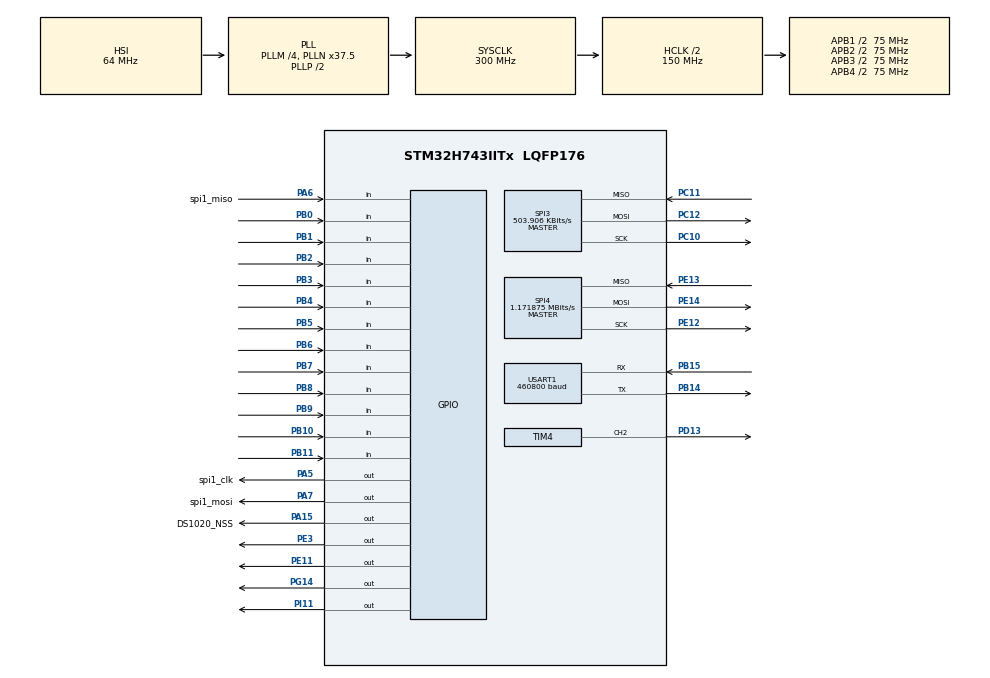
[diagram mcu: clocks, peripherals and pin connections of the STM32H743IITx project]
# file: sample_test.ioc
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CORTEX_M7.default_mode_Activation=1
Mcu.Family=STM32H7
Mcu.Name=STM32H743IITx
Mcu.Package=LQFP176
NVIC.PriorityGroup=NVIC_PRIORITYGROUP_4
NVIC.TIM4_IRQn=true\:0\:0\:false\:false\:true\:true\:true\:true
PA15\ (JTDI).GPIO_Label=DS1020_NSS
PA15\ (JTDI).GPIO_PuPd=GPIO_PULLUP
PA15\ (JTDI).Signal=GPIO_Output
PA5.GPIO_Label=spi1_clk
PA5.GPIO_PuPd=GPIO_PULLUP
PA5.GPIO_Speed=GPIO_SPEED_FREQ_VERY_HIGH
PA5.Signal=GPIO_Output
PA6.GPIO_Label=spi1_miso
PA6.GPIO_PuPd=GPIO_PULLUP
PA6.Signal=GPIO_Input
PA7.GPIO_Label=spi1_mosi
PA7.GPIO_PuPd=GPIO_PULLUP
PA7.GPIO_Speed=GPIO_SPEED_FREQ_VERY_HIGH
PA7.Signal=GPIO_Output
PB0.GPIO_PuPd=GPIO_PULLUP
PB0.Signal=GPIO_Input
PB1.GPIO_PuPd=GPIO_PULLUP
PB1.Signal=GPIO_Input
PB10.GPIO_PuPd=GPIO_PULLUP
PB10.Signal=GPIO_Input
PB11.GPIO_PuPd=GPIO_PULLUP
PB11.Signal=GPIO_Input
PB14.Mode=Asynchronous
PB14.Signal=USART1_TX
PB15.Mode=Asynchronous
PB15.Signal=USART1_RX
PB2.GPIO_PuPd=GPIO_PULLUP
PB2.Signal=GPIO_Input
PB3\ (JTDO/TRACESWO).GPIO_PuPd=GPIO_PULLUP
PB3\ (JTDO/TRACESWO).Signal=GPIO_Input
PB4\ (NJTRST).GPIO_PuPd=GPIO_PULLUP
PB4\ (NJTRST).Signal=GPIO_Input
PB5.GPIO_PuPd=GPIO_PULLUP
PB5.Signal=GPIO_Input
PB6.GPIO_PuPd=GPIO_PULLUP
PB6.Signal=GPIO_Input
PB7.GPIO_PuPd=GPIO_PULLUP
PB7.Signal=GPIO_Input
PB8.GPIO_PuPd=GPIO_PULLUP
PB8.Signal=GPIO_Input
PB9.GPIO_PuPd=GPIO_PULLUP
PB9.Signal=GPIO_Input
PC10.Mode=Full_Duplex_Master
PC10.Signal=SPI3_SCK
PC11.Mode=Full_Duplex_Master
PC11.Signal=SPI3_MISO
PC12.Mode=Full_Duplex_Master
PC12.Signal=SPI3_MOSI
PC14-OSC32_IN\ (OSC32_IN).Mode=LSE-External-Oscillator
PC14-OSC32_IN\ (OSC32_IN).Signal=RCC_OSC32_IN
PC15-OSC32_OUT\ (OSC32_OUT).Mode=LSE-External-Oscillator
PC15-OSC32_OUT\ (OSC32_OUT).Signal=RCC_OSC32_OUT
PD13.GPIO_PuPd=GPIO_PULLUP
PD13.Signal=S_TIM4_CH2
PE11.GPIO_PuPd=GPIO_PULLUP
PE11.Signal=GPIO_Output
PE12.Mode=Full_Duplex_Master
PE12.Signal=SPI4_SCK
PE13.Mode=Full_Duplex_Master
PE13.Signal=SPI4_MISO
PE14.Mode=Full_Duplex_Master
PE14.Signal=SPI4_MOSI
PE3.GPIO_PuPd=GPIO_PULLUP
PE3.Signal=GPIO_Output
PG14.GPIO_PuPd=GPIO_PULLUP
PG14.Signal=GPIO_Output
PH0-OSC_IN\ (PH0).Mode=HSE-External-Oscillator
PH0-OSC_IN\ (PH0).Signal=RCC_OSC_IN
PH1-OSC_OUT\ (PH1).Mode=HSE-External-Oscillator
PH1-OSC_OUT\ (PH1).Signal=RCC_OSC_OUT
PI11.GPIO_PuPd=GPIO_PULLUP
PI11.GPIO_Speed=GPIO_SPEED_FREQ_HIGH
PI11.Signal=GPIO_Output
ProjectManager.HeapSize=0x200
ProjectManager.StackSize=0x400
ProjectManager.TargetToolchain=MDK-ARM V5.32
RCC.ADCFreq_Value=129000000
RCC.APB1Freq_Value=75000000
RCC.APB2Freq_Value=75000000
RCC.APB3Freq_Value=75000000
RCC.APB4Freq_Value=75000000
RCC.CortexFreq_Value=300000000
RCC.D1PPRE=RCC_APB3_DIV2
RCC.D2PPRE1=RCC_APB1_DIV2
RCC.D2PPRE2=RCC_APB2_DIV2
RCC.D3PPRE=RCC_APB4_DIV2
RCC.DIVM1=4
RCC.DIVN1=37
RCC.HCLKFreq_Value=150000000
RCC.HPRE=RCC_HCLK_DIV2
RCC.PLLFRACN=4096
RCC.SPI123CLockSelection=RCC_SPI123CLKSOURCE_PLL3
RCC.SYSCLKFreq_VALUE=300000000
RCC.SYSCLKSource=RCC_SYSCLKSOURCE_PLLCLK
RCC.USBFreq_Value=300000000
SH.S_TIM4_CH2.0=TIM4_CH2,PWM Generation2 CH2
SPI3.BaudRatePrescaler=SPI_BAUDRATEPRESCALER_256
SPI3.CLKPolarity=SPI_POLARITY_HIGH
SPI3.CalculateBaudRate=503.906 KBits/s
SPI3.DataSize=SPI_DATASIZE_8BIT
SPI3.Direction=SPI_DIRECTION_2LINES
SPI3.Mode=SPI_MODE_MASTER
SPI3.VirtualType=VM_MASTER
SPI4.BaudRatePrescaler=SPI_BAUDRATEPRESCALER_64
SPI4.CLKPhase=SPI_PHASE_2EDGE
SPI4.CLKPolarity=SPI_POLARITY_HIGH
SPI4.CalculateBaudRate=1.171875 MBits/s
SPI4.DataSize=SPI_DATASIZE_8BIT
SPI4.Direction=SPI_DIRECTION_2LINES
SPI4.Mode=SPI_MODE_MASTER
SPI4.VirtualType=VM_MASTER
TIM4.AutoReloadPreload=TIM_AUTORELOAD_PRELOAD_ENABLE
TIM4.Channel-PWM\ Generation2\ CH2=TIM_CHANNEL_2
TIM4.OCFastMode_PWM-PWM\ Generation2\ CH2=TIM_OCFAST_ENABLE
TIM4.OCMode_PWM-PWM\ Generation2\ CH2=TIM_OCMODE_PWM1
TIM4.Period=20-1
TIM4.Prescaler=50-1
TIM4.Pulse-PWM\ Generation2\ CH2=10
USART1.BaudRate=460800
USART1.VirtualMode-Asynchronous=VM_ASYNC
VP_TIM4_VS_ClockSourceINT.Mode=Internal
board=custom

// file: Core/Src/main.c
/* USER CODE BEGIN Header */
/**
  ******************************************************************************
  * @file           : main.c
  * @brief          : Main program body
  ******************************************************************************
  * @attention
  *
  * Copyright (c) 2023 STMicroelectronics.
  * All rights reserved.
  *
  * This software is licensed under terms that can be found in the LICENSE file
  * in the root directory of this software component.
  * If no LICENSE file comes with this software, it is provided AS-IS.
  *
  ******************************************************************************
  */
/* USER CODE END Header */
#include "main.h"
#include "spi.h"
#include "tim.h"
#include "usart.h"
#include "gpio.h"

/* USER CODE BEGIN Includes */
#include "stdio.h"
#include "AD9226.h"
#include "softspi.h"
#include "spi.h"
#include <icm_20948.h>
/* USER CODE END Includes */

/* USER CODE BEGIN PD */
#define ad9226_bufer_size 1024
/* USER CODE END PD */

/* USER CODE BEGIN PV */
float ad9226_buffer_float[ad9226_bufer_size];
uint16_t ad9226_bufffer[ad9226_bufer_size];
uint8_t up_ad9226_bufffer[ad9226_bufer_size];
uint8_t down_ad9226_bufffer[ad9226_bufer_size];

uint16_t cnt=1;
uint8_t data=0;
uint8_t rx=0;
uint16_t cnt_buffer[]={0x0A00,0x4B01,0x9101,0xDA01};//0x0000,0x4701,0x9401,0xe201
uint16_t temp=0;//0-4
uint16_t spi_data;
uint16_t adc_count=0;
int16_t icm_readdata[21];
/* USER CODE END PV */

void SystemClock_Config(void);
static void MPU_Config(void);

int main(void)
{

  /* MPU Configuration--------------------------------------------------------*/
  MPU_Config();

  /* MCU Configuration--------------------------------------------------------*/

  /* Reset of all peripherals, Initializes the Flash interface and the Systick. */
  HAL_Init();

  /* Configure the system clock */
  SystemClock_Config();

  /* Initialize all configured peripherals */
  MX_GPIO_Init();
  MX_SPI3_Init();
  MX_SPI4_Init();
  MX_TIM4_Init();
  MX_USART1_UART_Init();
  /* USER CODE BEGIN 2 */
TIM4->PSC=200-1;
TIM4->ARR=20-1;
TIM4->CCR2=10;
		HAL_TIM_PWM_Start(&htim4,TIM_CHANNEL_2);
    HAL_TIM_Base_Start_IT(&htim4);
	HAL_GPIO_WritePin(GPIOI,GPIO_PIN_11,GPIO_PIN_SET);
	HAL_SPI_Transmit(&hspi3,&data,1,10);
	HAL_GPIO_WritePin(GPIOI,GPIO_PIN_11,GPIO_PIN_RESET);
//	 ICM20948_init();

  /* USER CODE END 2 */

  /* Infinite loop */
  /* USER CODE BEGIN WHILE */
  while (1)
  {

		if(adc_count==0)
		{

//			printf("*****");
			for(uint16_t i=0;i<ad9226_bufer_size;i++)
		{
//			ad9226_buffer_float[i] =  ad9226_bufffer[i]*1.0/4095.0*10-5;
	//		printf("a=%.3f\r\n",ad9226_buffer_float[i]);

			up_ad9226_bufffer[i]=(ad9226_bufffer[i]&0Xff00)>>8;
			down_ad9226_bufffer[i]=(ad9226_bufffer[i]&0X00ff);
			printf("%c%c",up_ad9226_bufffer[i],down_ad9226_bufffer[i]);

		}
		printf("***");
//		while(1);
		}
//		icm_20948_readdata(icm_readdata);
//		printf("*****************************************************************");
//		for(uint16_t i=0;i<23;i++)
//		{
//			printf("a=%d\r\n",icm_readdata[i]);
//		}
//		printf("*****************************************************************");

//		IMU_GetRawData(icm_readdata);
//		for(uint16_t i=0;i<21;i++)
//		{printf("a=%d\r\n",icm_readdata[i]);}

    /* USER CODE END WHILE */

  }
}

void SystemClock_Config(void)
{
  RCC_OscInitTypeDef RCC_OscInitStruct = {0};
  RCC_ClkInitTypeDef RCC_ClkInitStruct = {0};

  /** Supply configuration update enable
  */
  HAL_PWREx_ConfigSupply(PWR_LDO_SUPPLY);

  /** Configure the main internal regulator output voltage
  */
  __HAL_PWR_VOLTAGESCALING_CONFIG(PWR_REGULATOR_VOLTAGE_SCALE2);

  while(!__HAL_PWR_GET_FLAG(PWR_FLAG_VOSRDY)) {}

  /** Macro to configure the PLL clock source
  */
  __HAL_RCC_PLL_PLLSOURCE_CONFIG(RCC_PLLSOURCE_HSI);

  /** Initializes the RCC Oscillators according to the specified parameters
  * in the RCC_OscInitTypeDef structure.
  */
  RCC_OscInitStruct.OscillatorType = RCC_OSCILLATORTYPE_HSI;
  RCC_OscInitStruct.HSIState = RCC_HSI_DIV1;
  RCC_OscInitStruct.HSICalibrationValue = RCC_HSICALIBRATION_DEFAULT;
  RCC_OscInitStruct.PLL.PLLState = RCC_PLL_ON;
  RCC_OscInitStruct.PLL.PLLSource = RCC_PLLSOURCE_HSI;
  RCC_OscInitStruct.PLL.PLLM = 4;
  RCC_OscInitStruct.PLL.PLLN = 37;
  RCC_OscInitStruct.PLL.PLLP = 2;
  RCC_OscInitStruct.PLL.PLLQ = 2;
  RCC_OscInitStruct.PLL.PLLR = 2;
  RCC_OscInitStruct.PLL.PLLRGE = RCC_PLL1VCIRANGE_3;
  RCC_OscInitStruct.PLL.PLLVCOSEL = RCC_PLL1VCOWIDE;
  RCC_OscInitStruct.PLL.PLLFRACN = 4096;
  if (HAL_RCC_OscConfig(&RCC_OscInitStruct) != HAL_OK)
  {
    Error_Handler();
  }

  /** Initializes the CPU, AHB and APB buses clocks
  */
  RCC_ClkInitStruct.ClockType = RCC_CLOCKTYPE_HCLK|RCC_CLOCKTYPE_SYSCLK
                              |RCC_CLOCKTYPE_PCLK1|RCC_CLOCKTYPE_PCLK2
                              |RCC_CLOCKTYPE_D3PCLK1|RCC_CLOCKTYPE_D1PCLK1;
  RCC_ClkInitStruct.SYSCLKSource = RCC_SYSCLKSOURCE_PLLCLK;
  RCC_ClkInitStruct.SYSCLKDivider = RCC_SYSCLK_DIV1;
  RCC_ClkInitStruct.AHBCLKDivider = RCC_HCLK_DIV2;
  RCC_ClkInitStruct.APB3CLKDivider = RCC_APB3_DIV2;
  RCC_ClkInitStruct.APB1CLKDivider = RCC_APB1_DIV2;
  RCC_ClkInitStruct.APB2CLKDivider = RCC_APB2_DIV2;
  RCC_ClkInitStruct.APB4CLKDivider = RCC_APB4_DIV2;

  if (HAL_RCC_ClockConfig(&RCC_ClkInitStruct, FLASH_LATENCY_2) != HAL_OK)
  {
    Error_Handler();
  }
}

/* USER CODE BEGIN 4 */
void HAL_TIM_PeriodElapsedCallback(TIM_HandleTypeDef *htim)
{

    if (htim == (&htim4))
    {
//			HAL_SPI_Transmit(&hspi1,&cnt,1,1);
			spi_data=cnt|cnt_buffer[temp];
			mySPI_Master_ReadWriteByte(spi_data);
//			printf("a=%x\r\n",spi_data);

				ad9226_bufffer[adc_count]=AD9226ReadData();
//			ad9226_buffer_float[adc_count] =  ad9226_bufffer[adc_count]*1.0/4095.0*10-5;
			cnt++;
			adc_count++;
				if(cnt==256) {cnt=1;
					if(temp==3){temp=0;}
					else {temp++;}
//					HAL_TIM_Base_Stop_IT(&htim4);
//			  HAL_TIM_PWM_Stop(&htim4,TIM_CHANNEL_2);
					}
				if(adc_count==1024) {adc_count=0;}

    }
}

//void HAL_UART_RxCpltCallback(UART_HandleTypeDef *huart)
//{
//    if(rx == 's')
//    {
//        printf("OK!\r\n");
//    }
//
//}
/* USER CODE END 4 */

/* MPU Configuration */

void MPU_Config(void)
{
  MPU_Region_InitTypeDef MPU_InitStruct = {0};

  /* Disables the MPU */
  HAL_MPU_Disable();

  /** Initializes and configures the Region and the memory to be protected
  */
  MPU_InitStruct.Enable = MPU_REGION_ENABLE;
  MPU_InitStruct.Number = MPU_REGION_NUMBER0;
  MPU_InitStruct.BaseAddress = 0x0;
  MPU_InitStruct.Size = MPU_REGION_SIZE_4GB;
  MPU_InitStruct.SubRegionDisable = 0x87;
  MPU_InitStruct.TypeExtField = MPU_TEX_LEVEL0;
  MPU_InitStruct.AccessPermission = MPU_REGION_NO_ACCESS;
  MPU_InitStruct.DisableExec = MPU_INSTRUCTION_ACCESS_DISABLE;
  MPU_InitStruct.IsShareable = MPU_ACCESS_SHAREABLE;
  MPU_InitStruct.IsCacheable = MPU_ACCESS_NOT_CACHEABLE;
  MPU_InitStruct.IsBufferable = MPU_ACCESS_NOT_BUFFERABLE;

  HAL_MPU_ConfigRegion(&MPU_InitStruct);
  /* Enables the MPU */
  HAL_MPU_Enable(MPU_PRIVILEGED_DEFAULT);

}

void Error_Handler(void)
{
  __disable_irq();
  while (1)
  {
  }
}
